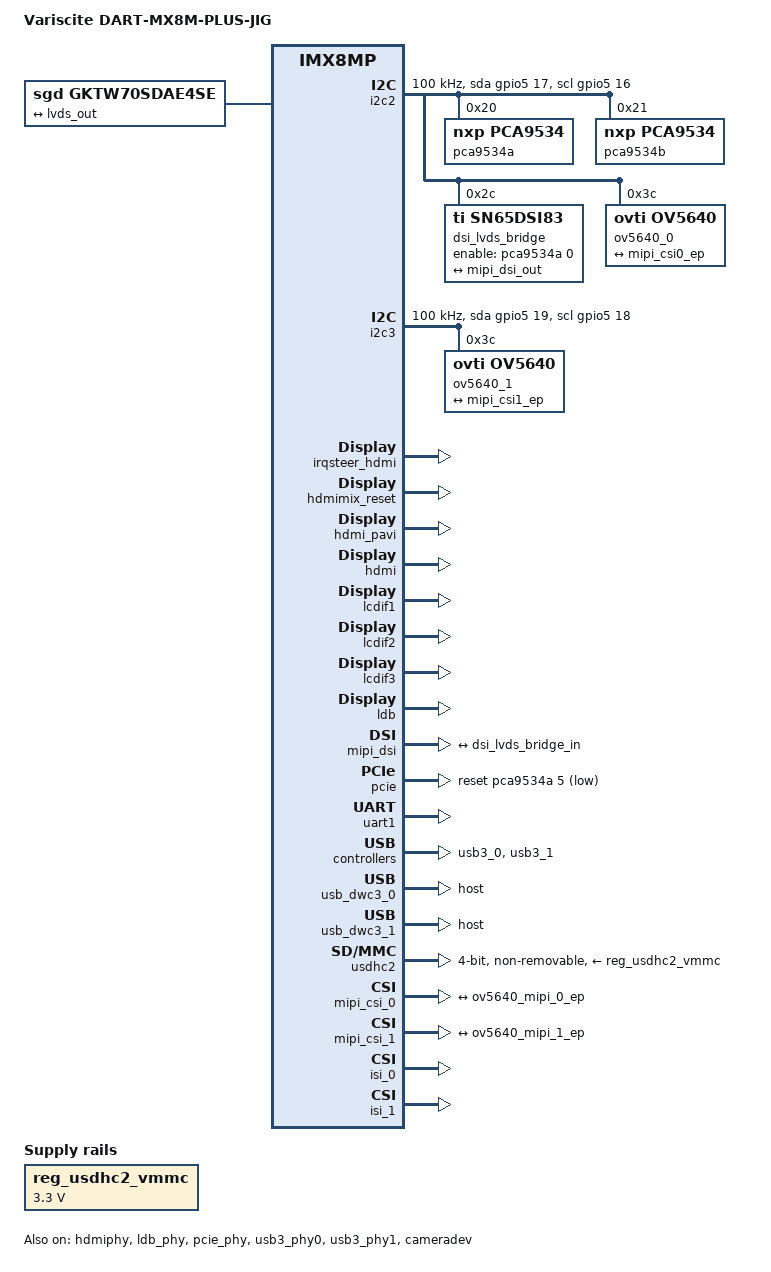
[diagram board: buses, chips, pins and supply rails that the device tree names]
// SPDX-License-Identifier: (GPL-2.0+ OR MIT)
/*
 * Copyright 2019 NXP
 * Copyright 2020 Variscite Ltd.
 */

/dts-v1/;

#include <dt-bindings/usb/pd.h>
#include "imx8mp-var-dart.dtsi"

/ {
	model = "Variscite DART-MX8M-PLUS-JIG";

	chosen {
		stdout-path = &uart1;
	};

	reg_usdhc2_vmmc: regulator-usdhc2-vmmc {
		compatible = "regulator-fixed";
		regulator-name = "VSD_3V3";
		regulator-min-microvolt = <3300000>;
		regulator-max-microvolt = <3300000>;
	};

	sound-hdmi {
		compatible = "fsl,imx-audio-cdnhdmi";
		model = "audio-hdmi";
		audio-cpu = <&aud2htx>;
		hdmi-out;
		constraint-rate = <44100>,
				<88200>,
				<176400>,
				<32000>,
				<48000>,
				<96000>,
				<192000>;
		status = "disabled";
	};

	panel {
		compatible = "sgd,gktw70sdae4se", "panel-lvds";
		width-mm = <153>;
		height-mm = <87>;
		label = "gktw70sdae4se";
		data-mapping = "jeida-24";
		status = "okay";

		panel-timing {
			clock-frequency = <66000000>;
			hactive = <1600>;
			vactive = <480>;
			hback-porch = <80>;
			hfront-porch = <80>;
			vback-porch = <29>;
			vfront-porch = <13>;
			hsync-len = <96>;
			vsync-len = <3>;
			hsync-active = <0>;
			vsync-active = <0>;
			de-active = <1>;
		};

		port {
			panel_in: endpoint {
				remote-endpoint = <&lvds_out>;
			};
		};
	};
};

&aud2htx {
	status = "disabled";
};

&i2c2 {
	clock-frequency = <100000>;
	pinctrl-names = "default", "gpio";
	pinctrl-0 = <&pinctrl_i2c2>;
	pinctrl-1 = <&pinctrl_i2c2_gpio>;
	
	scl-gpios = <&gpio5 16 GPIO_ACTIVE_HIGH>;
	sda-gpios = <&gpio5 17 GPIO_ACTIVE_HIGH>;
	status = "okay";

	pca9534a: gpio@20 {
		compatible = "nxp,pca9534";
		reg = <0x20>;
		gpio-controller;
		#gpio-cells = <2>;
	};

	pca9534b: gpio@21 {
		compatible = "nxp,pca9534";
		reg = <0x21>;
		gpio-controller;
		#gpio-cells = <2>;
	};

	dsi_lvds_bridge: sn65dsi84@2c {
		compatible = "ti,sn65dsi83";
		reg = <0x2c>;
		ti,dsi-lanes = <4>;
		ti,lvds-format = <1>;
		ti,lvds-bpp = <24>;
		ti,lvds-channels = <1>;
		ti,width-mm = <154>;
		ti,height-mm = <87>;
		enable-gpios = <&pca9534a 0 GPIO_ACTIVE_HIGH>;
		status = "okay";

		display-timings {
			lvds {
				clock-frequency = <33000000>;
				hactive = <800>;
				vactive = <480>;
				hback-porch = <40>;
				hfront-porch = <40>;
				vback-porch = <29>;
				vfront-porch = <13>;
				hsync-len = <48>;
				vsync-len = <3>;
				hsync-active = <0>;
				vsync-active = <0>;
				de-active = <1>;
				pixelclk-active = <0>;
			};
		};

		port {
			dsi_lvds_bridge_in: endpoint {
				remote-endpoint = <&mipi_dsi_out>;
			};
		};
	};

	ov5640_0: ov5640_mipi@3c {
		compatible = "ovti,ov5640";
		reg = <0x3c>;
		clocks = <&clk IMX8MP_CLK_IPP_DO_CLKO2>;
		clock-names = "xclk";
		assigned-clock-rates = <24000000>;
		csi_id = <0>;
		mclk = <24000000>;
		mclk_source = <0>;
		mipi_csi;
		status = "okay";

		port {
			ov5640_mipi_0_ep: endpoint {
				remote-endpoint = <&mipi_csi0_ep>;
				data-lanes = <1 2>;
				clock-lanes = <0>;
			};
		};
	};
};

&i2c3 {
	clock-frequency = <100000>;
	pinctrl-names = "default", "gpio";
	pinctrl-0 = <&pinctrl_i2c3>;
	pinctrl-1 = <&pinctrl_i2c3_gpio>;
	scl-gpios = <&gpio5 18 GPIO_ACTIVE_HIGH>;
	sda-gpios = <&gpio5 19 GPIO_ACTIVE_HIGH>;
	status = "okay";
	
	ov5640_1: ov5640_mipi@3c {
		compatible = "ovti,ov5640";
		reg = <0x3c>;
		clocks = <&clk IMX8MP_CLK_IPP_DO_CLKO2>;
		clock-names = "xclk";
		assigned-clock-rates = <24000000>;
		csi_id = <1>;
		mclk = <24000000>;
		mclk_source = <0>;
		mipi_csi;
		status = "okay";

		port {
			ov5640_mipi_1_ep: endpoint {
				remote-endpoint = <&mipi_csi1_ep>;
				data-lanes = <1 2>;
				clock-lanes = <0>;
			};
		};
	};
};

&irqsteer_hdmi {
	status = "okay";
};

&hdmimix_clk {
	status = "okay";
};

&hdmimix_reset {
	status = "okay";
};

&hdmi_pavi {
	status = "okay";
};

&hdmi {
	status = "okay";
};

&hdmiphy {
	status = "okay";
};

/* MIPI-DSI */
&lcdif1 {
	status = "okay";
};

/* LVDS */
&lcdif2 {
	status = "okay";
};

/* HDMI */
&lcdif3 {
	status = "okay";
};

&ldb {
	status = "okay";
	fsl,dual-channel;

	lvds-channel@0 {
		fsl,data-mapping = "jeida";
		fsl,data-width = <24>;
		status = "okay";

		port@1 {
			reg = <1>;

			lvds_out: endpoint {
				remote-endpoint = <&panel_in>;
			};
		};
	};
};

&ldb_phy {
	status = "okay";
};

&mipi_dsi {
	status = "okay";

	port@1 {
		mipi_dsi_out: endpoint {
			remote-endpoint = <&dsi_lvds_bridge_in>;
			attach-bridge;
		};
	};
};

&pcie {
	reset-gpio = <&pca9534a 5 GPIO_ACTIVE_LOW>;
	ext_osc = <1>;
	clocks = <&clk IMX8MP_CLK_HSIO_AXI_DIV>,
		 <&clk IMX8MP_CLK_PCIE_AUX>,
		 <&clk IMX8MP_CLK_PCIE_PHY>,
		 <&clk IMX8MP_CLK_PCIE_ROOT>;
	clock-names = "pcie", "pcie_aux", "pcie_phy", "pcie_bus";
	assigned-clocks = <&clk IMX8MP_CLK_HSIO_AXI_SRC>,
			  <&clk IMX8MP_CLK_PCIE_AUX>;
	assigned-clock-parents = <&clk IMX8MP_SYS_PLL2_500M>,
				 <&clk IMX8MP_SYS_PLL2_50M>;
	status = "okay";
};

&pcie_phy {
	ext_osc = <1>;
	status = "okay";
};

/* Console */
&uart1 {
	pinctrl-names = "default";
	pinctrl-0 = <&pinctrl_uart1>;
	status = "okay";
};


&usb3_phy0 {
	status = "okay";
};

&usb3_0 {
	status = "okay";
};

&usb_dwc3_0 {
	dr_mode = "host";
	hnp-disable;
	srp-disable;
	adp-disable;
	status = "okay";
};

&usb3_phy1 {
	status = "okay";
};

&usb3_1 {
	status = "okay";
};

&usb_dwc3_1 {
	dr_mode = "host";
	status = "okay";
};

&usdhc2 {
	pinctrl-names = "default", "state_100mhz", "state_200mhz";
	pinctrl-0 = <&pinctrl_usdhc2>;
	pinctrl-1 = <&pinctrl_usdhc2_100mhz>;
	pinctrl-2 = <&pinctrl_usdhc2_200mhz>;
	vmmc-supply = <&reg_usdhc2_vmmc>;
	bus-width = <4>;
	non-removable;
	status = "okay";
};

&iomuxc {
	pinctrl-names = "default";
	pinctrl-0 = <&pinctrl_hog>;

	pinctrl_hog: hoggrp {
		fsl,pins = <
			MX8MP_IOMUXC_HDMI_DDC_SCL__GPIO3_IO26				0x116
			MX8MP_IOMUXC_HDMI_DDC_SDA__GPIO3_IO27				0x116
			MX8MP_IOMUXC_HDMI_HPD__HDMIMIX_HDMI_HPD				0x40000019
			MX8MP_IOMUXC_HDMI_CEC__GPIO3_IO28				0x116
			MX8MP_IOMUXC_ECSPI1_SCLK__GPIO5_IO06				0x116
			
			MX8MP_IOMUXC_GPIO1_IO02__GPIO1_IO02				0x116
			MX8MP_IOMUXC_GPIO1_IO05__GPIO1_IO05				0x116
			MX8MP_IOMUXC_GPIO1_IO06__GPIO1_IO06				0x116
			MX8MP_IOMUXC_GPIO1_IO07__GPIO1_IO07				0x116
			MX8MP_IOMUXC_GPIO1_IO09__GPIO1_IO09				0x116
			MX8MP_IOMUXC_GPIO1_IO10__GPIO1_IO10				0x116
			MX8MP_IOMUXC_GPIO1_IO12__GPIO1_IO12				0x116
			MX8MP_IOMUXC_GPIO1_IO13__GPIO1_IO13				0x116
			MX8MP_IOMUXC_GPIO1_IO14__GPIO1_IO14				0x116
			MX8MP_IOMUXC_GPIO1_IO15__GPIO1_IO15				0x116
			MX8MP_IOMUXC_SAI5_RXFS__GPIO3_IO19				0x116
			MX8MP_IOMUXC_SAI5_RXC__GPIO3_IO20				0x116
			MX8MP_IOMUXC_SAI5_RXD0__GPIO3_IO21				0x116
			MX8MP_IOMUXC_SAI5_RXD1__GPIO3_IO22				0x116
			MX8MP_IOMUXC_SAI5_RXD2__GPIO3_IO23				0x116
			MX8MP_IOMUXC_SAI5_RXD3__GPIO3_IO24				0x116
			MX8MP_IOMUXC_SAI5_MCLK__GPIO3_IO25				0x116
			MX8MP_IOMUXC_SAI1_RXFS__GPIO4_IO00				0x116
			MX8MP_IOMUXC_SAI1_RXC__GPIO4_IO01				0x116
			MX8MP_IOMUXC_SAI1_RXD0__GPIO4_IO02				0x116
			MX8MP_IOMUXC_SAI1_RXD1__GPIO4_IO03				0x116
			MX8MP_IOMUXC_SAI1_RXD2__GPIO4_IO04				0x116
			MX8MP_IOMUXC_SAI1_RXD3__GPIO4_IO05				0x116
			MX8MP_IOMUXC_SAI1_RXD4__GPIO4_IO06				0x116
			MX8MP_IOMUXC_SAI1_RXD5__GPIO4_IO07				0x116
			MX8MP_IOMUXC_SAI1_RXD6__GPIO4_IO08				0x116
			MX8MP_IOMUXC_SAI1_RXD7__GPIO4_IO09				0x116
			MX8MP_IOMUXC_SAI1_TXFS__GPIO4_IO10				0x116
			MX8MP_IOMUXC_SAI1_TXC__GPIO4_IO11				0x116
			MX8MP_IOMUXC_SAI1_TXD0__GPIO4_IO12				0x116
			MX8MP_IOMUXC_SAI1_TXD1__GPIO4_IO13				0x116
			MX8MP_IOMUXC_SAI1_TXD2__GPIO4_IO14				0x116
			MX8MP_IOMUXC_SAI1_TXD3__GPIO4_IO15				0x116
			MX8MP_IOMUXC_SAI1_TXD4__GPIO4_IO16				0x116
			MX8MP_IOMUXC_SAI1_TXD5__GPIO4_IO17				0x116
			MX8MP_IOMUXC_SAI1_TXD6__GPIO4_IO18				0x116
			MX8MP_IOMUXC_SAI1_TXD7__GPIO4_IO19				0x116
			MX8MP_IOMUXC_SAI1_MCLK__GPIO4_IO20				0x116
			MX8MP_IOMUXC_SAI2_RXFS__GPIO4_IO21				0x116
			MX8MP_IOMUXC_SAI2_RXC__GPIO4_IO22				0x116
			MX8MP_IOMUXC_SAI2_TXC__GPIO4_IO25				0x116
			MX8MP_IOMUXC_SAI2_TXD0__GPIO4_IO26				0x116
			MX8MP_IOMUXC_SAI2_MCLK__GPIO4_IO27				0x116
			MX8MP_IOMUXC_SPDIF_TX__GPIO5_IO03				0x116
			MX8MP_IOMUXC_SPDIF_RX__GPIO5_IO04				0x116
			MX8MP_IOMUXC_ECSPI1_SCLK__GPIO5_IO06				0x116
			MX8MP_IOMUXC_ECSPI1_MOSI__GPIO5_IO07				0x116
			MX8MP_IOMUXC_ECSPI1_MISO__GPIO5_IO08				0x116
			MX8MP_IOMUXC_ECSPI1_SS0__GPIO5_IO09				0x116
			MX8MP_IOMUXC_I2C4_SCL__GPIO5_IO20				0x116
			MX8MP_IOMUXC_I2C4_SDA__GPIO5_IO21				0x116
			MX8MP_IOMUXC_UART2_RXD__GPIO5_IO24				0x116
			MX8MP_IOMUXC_UART2_TXD__GPIO5_IO25				0x116
			MX8MP_IOMUXC_UART3_RXD__GPIO5_IO26				0x116
			MX8MP_IOMUXC_UART3_TXD__GPIO5_IO27				0x116
			MX8MP_IOMUXC_UART4_RXD__GPIO5_IO28				0x116
			MX8MP_IOMUXC_UART4_TXD__GPIO5_IO29				0x116
			MX8MP_IOMUXC_SD2_CD_B__GPIO2_IO12				0x116
			MX8MP_IOMUXC_SD2_RESET_B__GPIO2_IO19				0x116
		>;
	};

	pinctrl_pwm1: pwm1grp {
		fsl,pins = <
			MX8MP_IOMUXC_GPIO1_IO01__PWM1_OUT				0x116
		>;
	};

	pinctrl_i2c2: i2c2grp {
		fsl,pins = <
			MX8MP_IOMUXC_I2C2_SCL__I2C2_SCL					0x400001c3
			MX8MP_IOMUXC_I2C2_SDA__I2C2_SDA					0x400001c3
		>;
	};

	pinctrl_i2c3: i2c3grp {
		fsl,pins = <
			MX8MP_IOMUXC_I2C3_SCL__I2C3_SCL					0x400001c3
			MX8MP_IOMUXC_I2C3_SDA__I2C3_SDA					0x400001c3
		>;
	};

	pinctrl_i2c2_gpio: i2c2gpiogrp {
		fsl,pins = <
			MX8MP_IOMUXC_I2C2_SCL__GPIO5_IO16				0x1c3
			MX8MP_IOMUXC_I2C2_SDA__GPIO5_IO17				0x1c3
		>;
	};

	pinctrl_i2c3_gpio: i2c3gpiogrp {
		fsl,pins = <
			MX8MP_IOMUXC_I2C3_SCL__GPIO5_IO18				0x1c3
			MX8MP_IOMUXC_I2C3_SDA__GPIO5_IO19				0x1c3
		>;
	};


	pinctrl_uart1: uart1grp {
		fsl,pins = <
			MX8MP_IOMUXC_UART1_RXD__UART1_DCE_RX				0x49
			MX8MP_IOMUXC_UART1_TXD__UART1_DCE_TX				0x49
		>;
	};

	pinctrl_uart4: uart4grp {
		fsl,pins = <
			MX8MP_IOMUXC_ECSPI2_SCLK__UART4_DCE_RX				0x140
			MX8MP_IOMUXC_ECSPI2_MOSI__UART4_DCE_TX				0x140
			MX8MP_IOMUXC_ECSPI2_MISO__UART4_DCE_CTS				0x140
			MX8MP_IOMUXC_ECSPI2_SS0__UART4_DCE_RTS				0x140
		>;
	};


	pinctrl_usdhc2: usdhc2grp {
		fsl,pins = <
			MX8MP_IOMUXC_SD2_CLK__USDHC2_CLK				0x190
			MX8MP_IOMUXC_SD2_CMD__USDHC2_CMD				0x1d0
			MX8MP_IOMUXC_SD2_DATA0__USDHC2_DATA0				0x1d0
			MX8MP_IOMUXC_SD2_DATA1__USDHC2_DATA1				0x1d0
			MX8MP_IOMUXC_SD2_DATA2__USDHC2_DATA2				0x1d0
			MX8MP_IOMUXC_SD2_DATA3__USDHC2_DATA3				0x1d0
			MX8MP_IOMUXC_GPIO1_IO04__USDHC2_VSELECT				0xc1
		>;
	};

	pinctrl_usdhc2_100mhz: usdhc2grp-100mhz {
		fsl,pins = <
			MX8MP_IOMUXC_SD2_CLK__USDHC2_CLK				0x194
			MX8MP_IOMUXC_SD2_CMD__USDHC2_CMD				0x1d4
			MX8MP_IOMUXC_SD2_DATA0__USDHC2_DATA0				0x1d4
			MX8MP_IOMUXC_SD2_DATA1__USDHC2_DATA1				0x1d4
			MX8MP_IOMUXC_SD2_DATA2__USDHC2_DATA2				0x1d4
			MX8MP_IOMUXC_SD2_DATA3__USDHC2_DATA3				0x1d4
			MX8MP_IOMUXC_GPIO1_IO04__USDHC2_VSELECT 			0xc1
		>;
	};

	pinctrl_usdhc2_200mhz: usdhc2grp-200mhz {
		fsl,pins = <
			MX8MP_IOMUXC_SD2_CLK__USDHC2_CLK				0x196
			MX8MP_IOMUXC_SD2_CMD__USDHC2_CMD				0x1d6
			MX8MP_IOMUXC_SD2_DATA0__USDHC2_DATA0				0x1d6
			MX8MP_IOMUXC_SD2_DATA1__USDHC2_DATA1				0x1d6
			MX8MP_IOMUXC_SD2_DATA2__USDHC2_DATA2				0x1d6
			MX8MP_IOMUXC_SD2_DATA3__USDHC2_DATA3				0x1d6
			MX8MP_IOMUXC_GPIO1_IO04__USDHC2_VSELECT 			0xc1
		>;
	};
};

&wdog1 {
	status = "disabled";
};

&mipi_csi_0 {
	#address-cells = <1>;
	#size-cells = <0>;
	status = "okay";

	port@0 {
		reg = <0>;
		mipi_csi0_ep: endpoint {
			remote-endpoint = <&ov5640_mipi_0_ep>;
			data-lanes = <2>;
			csis-hs-settle = <13>;
			csis-clk-settle = <2>;
			csis-wclk;
		};
	};
};

&mipi_csi_1 {
	#address-cells = <1>;
	#size-cells = <0>;
	status = "okay";

	port@1 {
		reg = <1>;
		mipi_csi1_ep: endpoint {
			remote-endpoint = <&ov5640_mipi_1_ep>;
			data-lanes = <2>;
			csis-hs-settle = <13>;
			csis-clk-settle = <2>;
			csis-wclk;
		};
	};
};

&cameradev {
	status = "okay";
};

&isi_0 {
	status = "okay";

	cap_device {
		status = "okay";
	};

	m2m_device {
		status = "okay";
	};
};

&isi_1 {
	status = "okay";

	cap_device {
		status = "okay";
	};
};

&snvs_pwrkey{
	linux,keycode = <KEY_0>;
};
